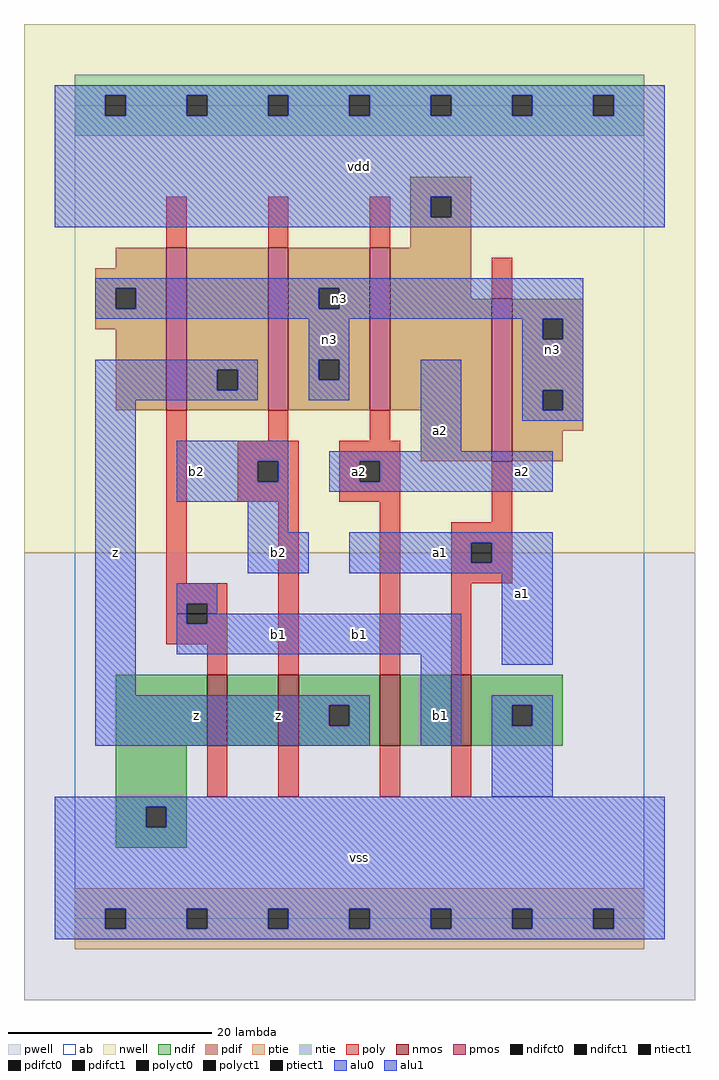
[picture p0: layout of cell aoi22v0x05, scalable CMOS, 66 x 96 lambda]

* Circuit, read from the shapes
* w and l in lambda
.subckt aoi22v0x05 a1 a2 b1 b2 n3 vdd vss z
M1 n1 b1 vss vss nfet w=7 l=2
M2 z b2 n1 vss nfet w=7 l=2
M3 n2 a2 z vss nfet w=7 l=2
M4 vss a1 n2 vss nfet w=7 l=2
M5 z b1 n3 vdd pfet w=16 l=2
M6 n3 b2 z vdd pfet w=16 l=2
M7 vdd a2 n3 vdd pfet w=16 l=2
M8 n3 a1 vdd vdd pfet w=16 l=2
.ends

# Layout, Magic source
magic
tech scmos
<< ab >>
rect 0 0 56 80
<< nwell >>
rect -5 36 61 88
<< pwell >>
rect -5 -8 61 36
<< poly >>
rect 9 66 11 71
rect 19 66 21 71
rect 29 66 31 71
rect 41 61 43 65
rect 9 33 11 50
rect 19 47 21 50
rect 29 47 31 50
rect 16 45 22 47
rect 16 43 18 45
rect 20 43 22 45
rect 16 41 22 43
rect 26 45 32 47
rect 26 43 28 45
rect 30 43 32 45
rect 26 41 32 43
rect 9 31 15 33
rect 9 29 11 31
rect 13 29 15 31
rect 9 27 15 29
rect 13 24 15 27
rect 20 24 22 41
rect 30 24 32 41
rect 41 39 43 45
rect 37 37 43 39
rect 37 35 39 37
rect 41 35 43 37
rect 37 33 43 35
rect 37 24 39 33
rect 13 12 15 17
rect 20 12 22 17
rect 30 12 32 17
rect 37 12 39 17
<< ndif >>
rect 4 17 13 24
rect 15 17 20 24
rect 22 21 30 24
rect 22 19 25 21
rect 27 19 30 21
rect 22 17 30 19
rect 32 17 37 24
rect 39 21 48 24
rect 39 19 43 21
rect 45 19 48 21
rect 39 17 48 19
rect 4 11 11 17
rect 4 9 7 11
rect 9 9 11 11
rect 4 7 11 9
<< pdif >>
rect 33 71 39 73
rect 33 69 35 71
rect 37 69 39 71
rect 33 66 39 69
rect 4 64 9 66
rect 2 62 9 64
rect 2 60 4 62
rect 6 60 9 62
rect 2 58 9 60
rect 4 50 9 58
rect 11 54 19 66
rect 11 52 14 54
rect 16 52 19 54
rect 11 50 19 52
rect 21 62 29 66
rect 21 60 24 62
rect 26 60 29 62
rect 21 55 29 60
rect 21 53 24 55
rect 26 53 29 55
rect 21 50 29 53
rect 31 61 39 66
rect 31 50 41 61
rect 34 45 41 50
rect 43 59 50 61
rect 43 57 46 59
rect 48 57 50 59
rect 43 52 50 57
rect 43 50 46 52
rect 48 50 50 52
rect 43 48 50 50
rect 43 45 48 48
<< alu1 >>
rect -2 81 58 82
rect -2 79 3 81
rect 5 79 11 81
rect 13 79 19 81
rect 21 79 27 81
rect 29 79 35 81
rect 37 79 43 81
rect 45 79 51 81
rect 53 79 58 81
rect -2 71 58 79
rect -2 69 35 71
rect 37 69 58 71
rect -2 68 58 69
rect 2 54 18 55
rect 2 52 14 54
rect 16 52 18 54
rect 2 51 18 52
rect 2 22 6 51
rect 10 45 21 47
rect 34 46 38 55
rect 10 43 18 45
rect 20 43 21 45
rect 10 41 21 43
rect 25 45 47 46
rect 25 43 28 45
rect 30 43 47 45
rect 25 42 47 43
rect 17 38 21 41
rect 17 34 23 38
rect 27 37 47 38
rect 27 35 39 37
rect 41 35 47 37
rect 27 34 47 35
rect 10 29 11 30
rect 13 29 38 30
rect 10 26 38 29
rect 2 21 29 22
rect 2 19 25 21
rect 27 19 29 21
rect 2 17 29 19
rect 34 17 38 26
rect 42 25 47 34
rect -2 11 58 12
rect -2 9 7 11
rect 9 9 58 11
rect -2 1 58 9
rect -2 -1 3 1
rect 5 -1 11 1
rect 13 -1 19 1
rect 21 -1 27 1
rect 29 -1 35 1
rect 37 -1 43 1
rect 45 -1 51 1
rect 53 -1 58 1
rect -2 -2 58 -1
<< ptie >>
rect 0 1 56 3
rect 0 -1 3 1
rect 5 -1 11 1
rect 13 -1 19 1
rect 21 -1 27 1
rect 29 -1 35 1
rect 37 -1 43 1
rect 45 -1 51 1
rect 53 -1 56 1
rect 0 -3 56 -1
<< ntie >>
rect 0 81 56 83
rect 0 79 3 81
rect 5 79 11 81
rect 13 79 19 81
rect 21 79 27 81
rect 29 79 35 81
rect 37 79 43 81
rect 45 79 51 81
rect 53 79 56 81
rect 0 77 56 79
<< nmos >>
rect 13 17 15 24
rect 20 17 22 24
rect 30 17 32 24
rect 37 17 39 24
<< pmos >>
rect 9 50 11 66
rect 19 50 21 66
rect 29 50 31 66
rect 41 45 43 61
<< polyct0 >>
rect 11 30 13 31
<< polyct1 >>
rect 18 43 20 45
rect 28 43 30 45
rect 11 29 13 30
rect 39 35 41 37
<< ndifct0 >>
rect 43 19 45 21
<< ndifct1 >>
rect 25 19 27 21
rect 7 9 9 11
<< ntiect1 >>
rect 3 79 5 81
rect 11 79 13 81
rect 19 79 21 81
rect 27 79 29 81
rect 35 79 37 81
rect 43 79 45 81
rect 51 79 53 81
<< ptiect1 >>
rect 3 -1 5 1
rect 11 -1 13 1
rect 19 -1 21 1
rect 27 -1 29 1
rect 35 -1 37 1
rect 43 -1 45 1
rect 51 -1 53 1
<< pdifct0 >>
rect 4 60 6 62
rect 24 60 26 62
rect 24 53 26 55
rect 46 57 48 59
rect 46 50 48 52
<< pdifct1 >>
rect 35 69 37 71
rect 14 52 16 54
<< alu0 >>
rect 2 62 50 63
rect 2 60 4 62
rect 6 60 24 62
rect 26 60 50 62
rect 2 59 50 60
rect 23 55 27 59
rect 44 57 46 59
rect 48 57 50 59
rect 23 53 24 55
rect 26 53 27 55
rect 23 51 27 53
rect 44 52 50 57
rect 44 50 46 52
rect 48 50 50 52
rect 44 49 50 50
rect 10 31 14 33
rect 10 30 11 31
rect 13 30 14 31
rect 41 21 47 22
rect 41 19 43 21
rect 45 19 47 21
rect 41 12 47 19
<< labels >>
rlabel alu0 25 57 25 57 6 n3
rlabel alu0 47 56 47 56 6 n3
rlabel alu0 26 61 26 61 6 n3
rlabel alu1 4 36 4 36 6 z
rlabel alu1 20 20 20 20 6 z
rlabel alu1 12 20 12 20 6 z
rlabel alu1 20 28 20 28 6 b1
rlabel alu1 20 36 20 36 6 b2
rlabel alu1 12 44 12 44 6 b2
rlabel alu1 28 6 28 6 6 vss
rlabel alu1 36 20 36 20 6 b1
rlabel alu1 28 28 28 28 6 b1
rlabel alu1 36 36 36 36 6 a1
rlabel alu1 28 44 28 44 6 a2
rlabel alu1 36 48 36 48 6 a2
rlabel alu1 28 74 28 74 6 vdd
rlabel alu1 44 32 44 32 6 a1
rlabel alu1 44 44 44 44 6 a2
<< end >>
